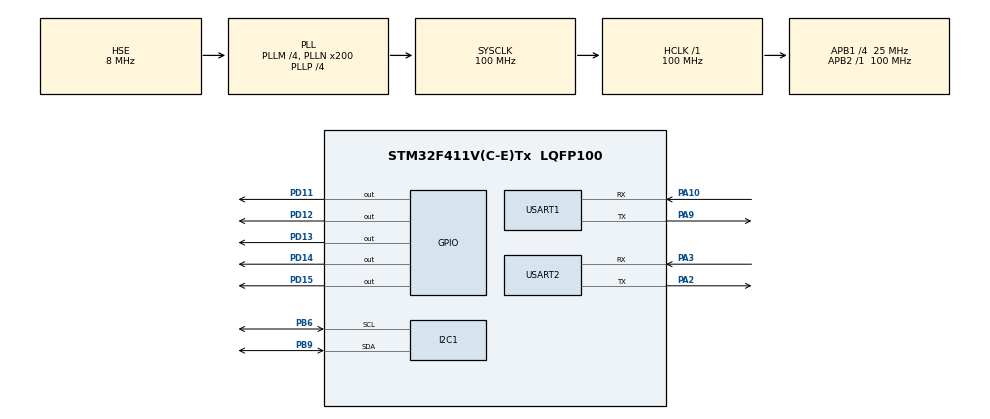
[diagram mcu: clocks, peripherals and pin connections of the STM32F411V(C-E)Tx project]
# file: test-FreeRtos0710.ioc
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FREERTOS.Tasks01=defaultTask,2,128,StartDefaultTask,Default,NULL,Dynamic,NULL,NULL;myTask02,0,128,StartTask02,Default,NULL,Dynamic,NULL,NULL;myTask03,0,128,StartTask03,Default,NULL,Dynamic,NULL,NULL
Mcu.Family=STM32F4
Mcu.Name=STM32F411V(C-E)Tx
Mcu.Package=LQFP100
NVIC.PriorityGroup=NVIC_PRIORITYGROUP_4
NVIC.TIM1_BRK_TIM9_IRQn=true\:0\:0\:false\:false\:true\:false\:false\:true
NVIC.TimeBase=TIM1_BRK_TIM9_IRQn
NVIC.TimeBaseIP=TIM9
PA10.Mode=Asynchronous
PA10.Signal=USART1_RX
PA13.Mode=Serial_Wire
PA13.Signal=SYS_JTMS-SWDIO
PA14.Mode=Serial_Wire
PA14.Signal=SYS_JTCK-SWCLK
PA2.Mode=Asynchronous
PA2.Signal=USART2_TX
PA3.Mode=Asynchronous
PA3.Signal=USART2_RX
PA9.Mode=Asynchronous
PA9.Signal=USART1_TX
PB6.Mode=I2C
PB6.Signal=I2C1_SCL
PB9.Mode=I2C
PB9.Signal=I2C1_SDA
PC14-OSC32_IN.Mode=LSE-External-Oscillator
PC14-OSC32_IN.Signal=RCC_OSC32_IN
PC15-OSC32_OUT.Mode=LSE-External-Oscillator
PC15-OSC32_OUT.Signal=RCC_OSC32_OUT
PD11.Signal=GPIO_Output
PD12.Signal=GPIO_Output
PD13.Signal=GPIO_Output
PD14.Signal=GPIO_Output
PD15.Signal=GPIO_Output
PH0\ -\ OSC_IN.Mode=HSE-External-Oscillator
PH0\ -\ OSC_IN.Signal=RCC_OSC_IN
PH1\ -\ OSC_OUT.Mode=HSE-External-Oscillator
PH1\ -\ OSC_OUT.Signal=RCC_OSC_OUT
ProjectManager.HeapSize=0x200
ProjectManager.StackSize=0x400
ProjectManager.TargetToolchain=MDK-ARM V5
RCC.48MHZClocksFreq_Value=100000000
RCC.AHBFreq_Value=100000000
RCC.APB1CLKDivider=RCC_HCLK_DIV4
RCC.APB1Freq_Value=25000000
RCC.APB1TimFreq_Value=50000000
RCC.APB2Freq_Value=100000000
RCC.APB2TimFreq_Value=100000000
RCC.CortexFreq_Value=100000000
RCC.HCLKFreq_Value=100000000
RCC.HSE_VALUE=8000000
RCC.HSI_VALUE=16000000
RCC.PLLM=4
RCC.PLLN=200
RCC.PLLP=RCC_PLLP_DIV4
RCC.PLLSourceVirtual=RCC_PLLSOURCE_HSE
RCC.SYSCLKFreq_VALUE=100000000
RCC.SYSCLKSource=RCC_SYSCLKSOURCE_PLLCLK
RCC.VCOOutputFreq_Value=400000000
USART1.VirtualMode=VM_ASYNC
USART2.VirtualMode=VM_ASYNC
VP_FREERTOS_VS_CMSIS_V1.Mode=CMSIS_V1
VP_SYS_VS_tim9.Mode=TIM9
board=custom

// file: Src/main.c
/* USER CODE BEGIN Header */
/**
  ******************************************************************************
  * @file           : main.c
  * @brief          : Main program body
  ******************************************************************************
  * @attention
  *
  * <h2><center>&copy; Copyright (c) 2019 STMicroelectronics.
  * All rights reserved.</center></h2>
  *
  * This software component is licensed by ST under Ultimate Liberty license
  * SLA0044, the "License"; You may not use this file except in compliance with
  * the License. You may obtain a copy of the License at:
  *                             www.st.com/SLA0044
  *
  ******************************************************************************
  */
/* USER CODE END Header */

#include "main.h"
#include "cmsis_os.h"

#include "math.h"
#include "limits.h"
#include <string.h>
/* USER CODE BEGIN Includes */
//Register
#define LSM303_ACC_ADDRESS (0x19 << 1) // address of accelerometer: 0011 001x
#define LSM303_ACC_CTRL_REG1_A 0x20 // settings register 1
#define LSM303_ACC_CTRL_REG3_A 0x22 // setting register 3
#define LSM303_ACC_Z_H_A 0x2D // higher byte of Z axis data
#define LSM303_ACC_Z_L_A 0x2C // lower byte of Z axis data
#define LSM303_ACC_X_L_A 0x28 // lower byte of X axis data

// to read more data at once
#define LSM303_ACC_Z_L_A_MULTI_READ (LSM303_ACC_Z_L_A | 0x80)

// to read more data at once
#define LSM303_ACC_X_L_A_MULTI_READ (LSM303_ACC_X_L_A | 0x80)

// Bit masks
// CTRL_REG1_A = [ODR3][ODR2][ODR1][ODR0][LPEN][ZEN][YEN][XEN]
#define LSM303_ACC_Z_ENABLE 0x04 // 0000 0100
#define LSM303_ACC_XYZ_ENABLE 0x07 // 0000 0111
#define LSM303_ACC_100HZ 0x50 //0101 0000
#define LSM303_ACC_1HZ 0x10 //0001 0000

// CTRL_REG3_A = [CLICK][AOI1][AOI2][DRDY_1][DRDY_2][WTM][OVERRUN][---]
#define LSM303_ACC_I1_DRDY1 0x10 //0001 0000
#define LSM303_ACC_I1_DRDY2 0x08 //0000 1000

#define LSM303_ACC_RESOLUTION 2.0 // Maximum value of measurable acceleration [g]

// Variables
uint8_t Data[6]; // Variable for direct data reading from the accelerometer
int16_t Xaxis = 0; // Contains a transformed form of data read from the X axis
int16_t Yaxis = 0; // Contains a transformed form of data read from the Y axis
int16_t Zaxis = 0; // Contains a transformed form of data read from the Z axis

float Xaxis_g = 0 ; // Contains the acceleration in the X axis, expanded to physical unit [g]
float Yaxis_g = 0; // Contains the acceleration in the Y axis, expanded to physical unit [g]
float Zaxis_g = 0; // Contains the acceleration in the Z axis, expanded to physical unit [g]
/* USER CODE END Includes */

I2C_HandleTypeDef hi2c1;

UART_HandleTypeDef huart1;
UART_HandleTypeDef huart2;

osThreadId defaultTaskHandle;
osThreadId myTask02Handle;
osThreadId myTask03Handle;

void SystemClock_Config(void);
static void MX_GPIO_Init(void);
static void MX_I2C1_Init(void);
static void MX_USART1_UART_Init(void);
static void MX_USART2_UART_Init(void);
void StartDefaultTask(void const * argument);
void StartTask02(void const * argument);
void StartTask03(void const * argument);

int main(void)
{

  /* MCU Configuration--------------------------------------------------------*/

  /* Reset of all peripherals, Initializes the Flash interface and the Systick. */
  HAL_Init();

  /* Configure the system clock */
  SystemClock_Config();

  /* Initialize all configured peripherals */
  MX_GPIO_Init();
  MX_I2C1_Init();
  MX_USART1_UART_Init();
  MX_USART2_UART_Init();

  /* Create the thread(s) */
  /* definition and creation of defaultTask */
  osThreadDef(defaultTask, StartDefaultTask, osPriorityHigh, 0, 128);
  defaultTaskHandle = osThreadCreate(osThread(defaultTask), NULL);

  /* definition and creation of myTask02 */
  osThreadDef(myTask02, StartTask02, osPriorityNormal, 0, 128);
  myTask02Handle = osThreadCreate(osThread(myTask02), NULL);

  /* definition and creation of myTask03 */
  osThreadDef(myTask03, StartTask03, osPriorityNormal, 0, 128);
  myTask03Handle = osThreadCreate(osThread(myTask03), NULL);

  /* Start scheduler */
  osKernelStart();

  /* We should never get here as control is now taken by the scheduler */

  /* Infinite loop */
  while (1)
  {

  }
}

void SystemClock_Config(void)
{
  RCC_OscInitTypeDef RCC_OscInitStruct = {0};
  RCC_ClkInitTypeDef RCC_ClkInitStruct = {0};

  /** Configure the main internal regulator output voltage
  */
  __HAL_RCC_PWR_CLK_ENABLE();
  __HAL_PWR_VOLTAGESCALING_CONFIG(PWR_REGULATOR_VOLTAGE_SCALE1);
  /** Initializes the CPU, AHB and APB busses clocks
  */
  RCC_OscInitStruct.OscillatorType = RCC_OSCILLATORTYPE_HSE;
  RCC_OscInitStruct.HSEState = RCC_HSE_ON;
  RCC_OscInitStruct.PLL.PLLState = RCC_PLL_ON;
  RCC_OscInitStruct.PLL.PLLSource = RCC_PLLSOURCE_HSE;
  RCC_OscInitStruct.PLL.PLLM = 4;
  RCC_OscInitStruct.PLL.PLLN = 200;
  RCC_OscInitStruct.PLL.PLLP = RCC_PLLP_DIV4;
  RCC_OscInitStruct.PLL.PLLQ = 4;
  if (HAL_RCC_OscConfig(&RCC_OscInitStruct) != HAL_OK)
  {
    Error_Handler();
  }
  /** Initializes the CPU, AHB and APB busses clocks
  */
  RCC_ClkInitStruct.ClockType = RCC_CLOCKTYPE_HCLK|RCC_CLOCKTYPE_SYSCLK
                              |RCC_CLOCKTYPE_PCLK1|RCC_CLOCKTYPE_PCLK2;
  RCC_ClkInitStruct.SYSCLKSource = RCC_SYSCLKSOURCE_PLLCLK;
  RCC_ClkInitStruct.AHBCLKDivider = RCC_SYSCLK_DIV1;
  RCC_ClkInitStruct.APB1CLKDivider = RCC_HCLK_DIV4;
  RCC_ClkInitStruct.APB2CLKDivider = RCC_HCLK_DIV1;

  if (HAL_RCC_ClockConfig(&RCC_ClkInitStruct, FLASH_LATENCY_3) != HAL_OK)
  {
    Error_Handler();
  }
}

static void MX_I2C1_Init(void)
{

  hi2c1.Instance = I2C1;
  hi2c1.Init.ClockSpeed = 100000;
  hi2c1.Init.DutyCycle = I2C_DUTYCYCLE_2;
  hi2c1.Init.OwnAddress1 = 0;
  hi2c1.Init.AddressingMode = I2C_ADDRESSINGMODE_7BIT;
  hi2c1.Init.DualAddressMode = I2C_DUALADDRESS_DISABLE;
  hi2c1.Init.OwnAddress2 = 0;
  hi2c1.Init.GeneralCallMode = I2C_GENERALCALL_DISABLE;
  hi2c1.Init.NoStretchMode = I2C_NOSTRETCH_DISABLE;
  if (HAL_I2C_Init(&hi2c1) != HAL_OK)
  {
    Error_Handler();
  }

}

static void MX_USART1_UART_Init(void)
{

  huart1.Instance = USART1;
  huart1.Init.BaudRate = 115200;
  huart1.Init.WordLength = UART_WORDLENGTH_8B;
  huart1.Init.StopBits = UART_STOPBITS_1;
  huart1.Init.Parity = UART_PARITY_NONE;
  huart1.Init.Mode = UART_MODE_TX_RX;
  huart1.Init.HwFlowCtl = UART_HWCONTROL_NONE;
  huart1.Init.OverSampling = UART_OVERSAMPLING_16;
  if (HAL_UART_Init(&huart1) != HAL_OK)
  {
    Error_Handler();
  }

}

static void MX_USART2_UART_Init(void)
{

  huart2.Instance = USART2;
  huart2.Init.BaudRate = 115200;
  huart2.Init.WordLength = UART_WORDLENGTH_8B;
  huart2.Init.StopBits = UART_STOPBITS_1;
  huart2.Init.Parity = UART_PARITY_NONE;
  huart2.Init.Mode = UART_MODE_TX_RX;
  huart2.Init.HwFlowCtl = UART_HWCONTROL_NONE;
  huart2.Init.OverSampling = UART_OVERSAMPLING_16;
  if (HAL_UART_Init(&huart2) != HAL_OK)
  {
    Error_Handler();
  }

}

static void MX_GPIO_Init(void)
{
  GPIO_InitTypeDef GPIO_InitStruct = {0};

  /* GPIO Ports Clock Enable */
  __HAL_RCC_GPIOC_CLK_ENABLE();
  __HAL_RCC_GPIOH_CLK_ENABLE();
  __HAL_RCC_GPIOA_CLK_ENABLE();
  __HAL_RCC_GPIOD_CLK_ENABLE();
  __HAL_RCC_GPIOB_CLK_ENABLE();

  /*Configure GPIO pin Output Level */
  HAL_GPIO_WritePin(GPIOD, GPIO_PIN_11|GPIO_PIN_12|GPIO_PIN_13|GPIO_PIN_14
                          |GPIO_PIN_15, GPIO_PIN_RESET);

  /*Configure GPIO pins : PD11 PD12 PD13 PD14
                           PD15 */
  GPIO_InitStruct.Pin = GPIO_PIN_11|GPIO_PIN_12|GPIO_PIN_13|GPIO_PIN_14
                          |GPIO_PIN_15;
  GPIO_InitStruct.Mode = GPIO_MODE_OUTPUT_PP;
  GPIO_InitStruct.Pull = GPIO_NOPULL;
  GPIO_InitStruct.Speed = GPIO_SPEED_FREQ_LOW;
  HAL_GPIO_Init(GPIOD, &GPIO_InitStruct);

}

/* USER CODE BEGIN 4 */
int falldetect(void)
{
	float at = 0;
	HAL_I2C_Mem_Read(&hi2c1, LSM303_ACC_ADDRESS, LSM303_ACC_X_L_A_MULTI_READ, 1, Data, 6, 100);

	// Convert received data bytes to int16_t type
	Xaxis = ((Data[1] << 8) | Data[0]);
	Yaxis = ((Data[3] << 8) | Data[2]);
	Zaxis = ((Data[5] << 8) | Data[4]);

	// calculation of acceleration in each axis in the SI unit [g]
	Xaxis_g = ((float) Xaxis * LSM303_ACC_RESOLUTION) / (float) INT16_MAX;
	Yaxis_g = ((float) Yaxis * LSM303_ACC_RESOLUTION) / (float) INT16_MAX;
	Zaxis_g = ((float) Zaxis * LSM303_ACC_RESOLUTION) / (float) INT16_MAX;
  at = sqrt(Xaxis_g*Xaxis_g + Yaxis_g*Yaxis_g + Zaxis_g*Zaxis_g);
	if (at < 0.7)
		return 1;
	else
		return 0;
}

/* USER CODE END 4 */

void StartDefaultTask(void const * argument)
{

  /* USER CODE BEGIN 5 */
	   // Fill the configuration variable with the appropriate options
	uint8_t Settings = LSM303_ACC_XYZ_ENABLE | LSM303_ACC_100HZ;

  // Enter the configuration in the accelerometer register
	HAL_I2C_Mem_Write(&hi2c1, LSM303_ACC_ADDRESS, LSM303_ACC_CTRL_REG1_A, 1, &Settings, 1, 100);

	Settings = LSM303_ACC_I1_DRDY2;
	HAL_I2C_Mem_Write(&hi2c1, LSM303_ACC_ADDRESS, LSM303_ACC_CTRL_REG3_A, 1, &Settings, 1, 100);
  /* Infinite loop */
  for(;;)
  {

		falldetect();
    osDelay(50);
  }
  /* USER CODE END 5 */
}

void StartTask02(void const * argument)
{
  /* USER CODE BEGIN StartTask02 */
 int i = 0;
  /* Infinite loop */
  for(;;)
  {
		while(falldetect() == 1) {
		for	(i = 0;i < 150;i++) {
		HAL_GPIO_TogglePin(GPIOD,GPIO_PIN_11);
    osDelay(50);
		}
		}
		while(falldetect() == 0) {
			HAL_GPIO_TogglePin(GPIOD,GPIO_PIN_11);
      osDelay(250);
			if (falldetect() == 1)
				break;

			osDelay(250);
			if (falldetect() == 1)
				break;
			HAL_GPIO_TogglePin(GPIOD,GPIO_PIN_11);
			osDelay(250);
			if (falldetect() == 1)
			break;
			osDelay(250);
			if (falldetect() == 1)
				break;
		}
  }
  /* USER CODE END StartTask02 */
}

void StartTask03(void const * argument)
{
	 char datat[] = "trai";
	 char datap[] = "phai";
	 char datatr[] = "tren";
	 char datad[] = "duoi";
	 //int i;
  /* USER CODE BEGIN StartTask03 */
  /* Infinite loop */
  for(;;)
  {
		const float Threshold = 0.5;

		// Control the diodes based on the acceleration in the X axis
		if (Xaxis_g > Threshold) { // if the acceleration in the X axis is greater than the set threshold
			HAL_GPIO_WritePin(GPIOD,GPIO_PIN_13, GPIO_PIN_SET); // light a diode
			HAL_UART_Transmit(&huart2,(uint8_t*)datatr,sizeof(datatr),500);
		} else if (Xaxis_g < -Threshold) { // if the acceleration in the X axis is smaller than the set threshold
			HAL_GPIO_WritePin(GPIOD, GPIO_PIN_15, GPIO_PIN_SET); // light a diode
			HAL_UART_Transmit(&huart2,(uint8_t*)datad,sizeof(datad),500);
		} else { // otherwise turn off all the LEDs
			HAL_GPIO_WritePin(GPIOD, GPIO_PIN_13, GPIO_PIN_RESET);
			HAL_GPIO_WritePin(GPIOD, GPIO_PIN_15, GPIO_PIN_RESET);
		}

		// Control the diodes based on the acceleration in the Y axis
		if (Yaxis_g > Threshold) { // if the acceleration in the Y axis is greater than the set threshold
			HAL_GPIO_WritePin(GPIOD, GPIO_PIN_12, GPIO_PIN_SET);
			HAL_UART_Transmit(&huart2,(uint8_t*)datat,sizeof(datat),500);
		} else if (Yaxis_g < -Threshold) { // if the acceleration in the Y axis is smaller than the set threshold
			HAL_GPIO_WritePin(GPIOD, GPIO_PIN_14, GPIO_PIN_SET);
			HAL_UART_Transmit(&huart2,(uint8_t*)datap,sizeof(datap),500);
		} else { // otherwise turn off all the LEDs
			HAL_GPIO_WritePin(GPIOD, GPIO_PIN_12, GPIO_PIN_RESET);
			HAL_GPIO_WritePin(GPIOD, GPIO_PIN_14, GPIO_PIN_RESET);
		}
  }
  /* USER CODE END StartTask03 */
}

void HAL_TIM_PeriodElapsedCallback(TIM_HandleTypeDef *htim)
{
  if (htim->Instance == TIM9) {
    HAL_IncTick();
  }
}

void Error_Handler(void)
{
}

/************************ (C) COPYRIGHT STMicroelectronics *****END OF FILE****/
